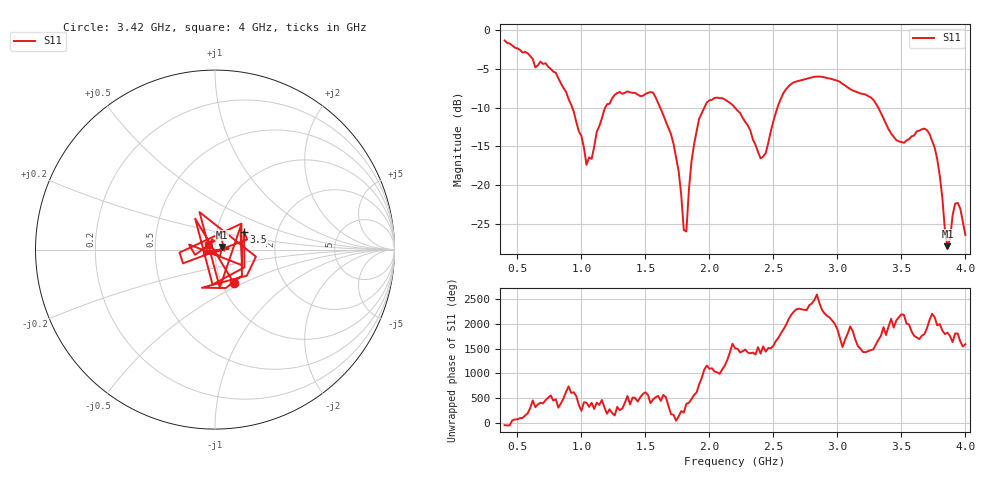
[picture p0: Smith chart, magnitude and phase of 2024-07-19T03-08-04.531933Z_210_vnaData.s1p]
!Created with skrf (http://scikit-rf.org).
# Hz S RI R 50.0
!freq ReS11 ImS11
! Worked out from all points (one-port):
!   181 points, 400 MHz to 4 GHz, reference 50 ohm
!   lowest |S11| = -27.8 dB at 3.86 GHz (marker M1), VSWR 1.08, Z = 53.9 + j1.62 ohm
!   |S11| at or under -10 dB: 1.615 GHz to 1.961 GHz (345.4 MHz wide, 19.3 % of centre); 2.199 GHz to 2.532 GHz (332.6 MHz wide, 14.1 % of centre); 3.319 GHz to end of sweep (the widest 3 of 4)
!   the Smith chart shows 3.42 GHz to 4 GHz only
!   S11 on the Smith chart (normalised r, x): 3.42 GHz: 1.14, -0.45; 3.5 GHz: 1.35, +0.28; 4 GHz: 0.92, +0.05
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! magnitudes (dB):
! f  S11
! 400 MHz  -1.4
! 860 MHz  -7.5
! 1 GHz  -13.7
! 1.04 GHz  -17.4
! 1.18 GHz  -10.2
! 1.3 GHz  -8.0
! 1.56 GHz  -8.1
! 1.7 GHz  -13.4
! 1.76 GHz  -18.2
! 1.8 GHz  -25.8
! 1.82 GHz  -26.0
! 1.86 GHz  -17.0
! 1.92 GHz  -11.4
! 2.04 GHz  -8.8
! 2.2 GHz  -10.0
! 2.4 GHz  -16.5
! 2.56 GHz  -8.8
! 2.66 GHz  -6.8
! 3.1 GHz  -7.6
! 3.28 GHz  -9.0
! 3.42 GHz  -13.3
! 3.5 GHz  -14.4
! 3.56 GHz  -14.1
! 3.68 GHz  -12.7
! 3.76 GHz  -15.2
! 3.86 GHz  -27.8
! 3.92 GHz  -22.4
! 4 GHz  -26.4
